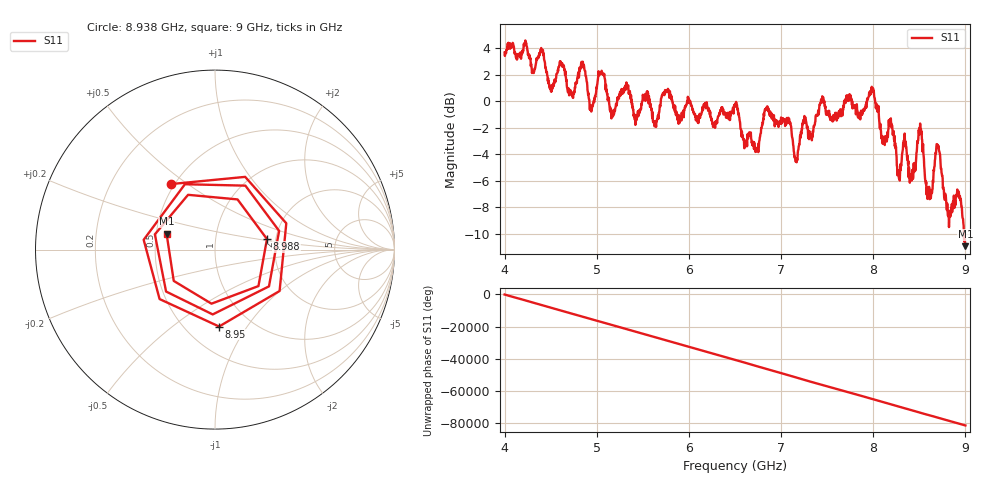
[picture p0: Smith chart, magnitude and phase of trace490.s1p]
! Created with skrf 1.8.0 (http://scikit-rf.org).
# Hz S RI R 50.0
!freq ReS11 ImS11
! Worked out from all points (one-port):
!   1601 points, 4 GHz to 9 GHz, reference 50 ohm
!   lowest |S11| = -10.9 dB at 9 GHz (marker M1), VSWR 1.79, Z = 28.4 + j5.45 ohm
!   |S11| at or under -10 dB: 8.983099 GHz to end of sweep
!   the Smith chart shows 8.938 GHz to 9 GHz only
!   S11 on the Smith chart (normalised r, x): 8.938 GHz: 0.48, +0.44; 8.95 GHz: 0.72, -0.75; 8.988 GHz: 1.80, +0.23; 9 GHz: 0.57, +0.11
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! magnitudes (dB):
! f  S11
! 4 GHz  3.7
! 4.4 GHz  3.9
! 4.509 GHz  0.7
! 4.625 GHz  2.9
! 4.725 GHz  0.5
! 4.85 GHz  2.9
! 4.941 GHz  -0.8
! 5.041 GHz  2.2
! 5.162 GHz  -0.9
! 5.25 GHz  0.5
! 5.875 GHz  -1.4
! 6.5 GHz  -0.2
! 6.606 GHz  -3.2
! 6.741 GHz  -3.6
! 6.844 GHz  -0.6
! 7.125 GHz  -2.8
! 7.75 GHz  0.3
! 7.991 GHz  0.7
! 8.278 GHz  -5.8
! 8.375 GHz  -4.4
! 8.506 GHz  -2.4
! 8.603 GHz  -7.2
! 8.7 GHz  -3.3
! 8.819 GHz  -8.3
! 8.938 GHz  -7.2
! 8.95 GHz  -7.3
! 8.988 GHz  -10.6
! 9 GHz  -10.9
